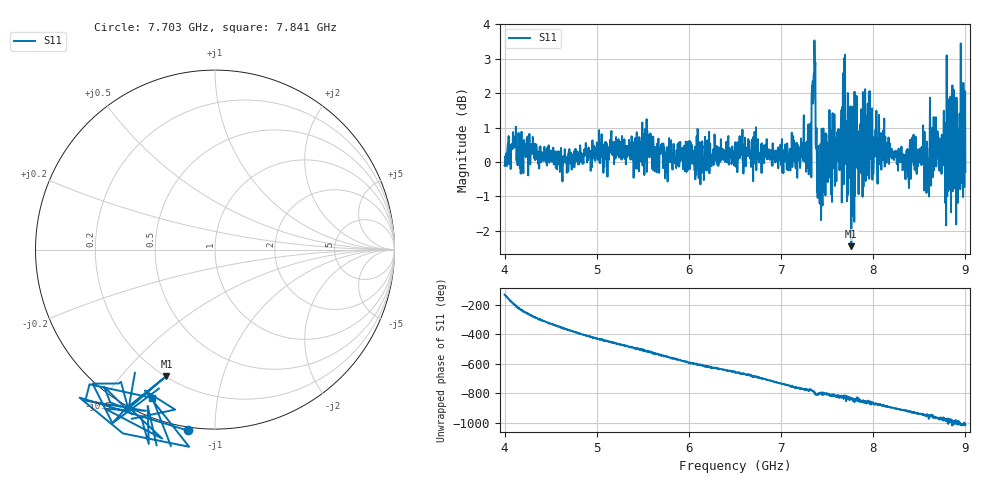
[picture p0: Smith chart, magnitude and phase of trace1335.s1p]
! Created with skrf 1.8.0 (http://scikit-rf.org).
# Hz S RI R 50.0
!freq ReS11 ImS11
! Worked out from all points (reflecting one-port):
!   1601 points, 4 GHz to 9 GHz, reference 50 ohm
!   lowest |S11| = -2.4 dB at 7.762 GHz (marker M1), VSWR 7.15, Z = 10.2 - j33.4 ohm
!   phase of S11 starts at -132 deg and turns -879 deg over the sweep
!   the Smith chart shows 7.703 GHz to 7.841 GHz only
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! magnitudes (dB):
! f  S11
! 4 GHz  -0.1
! 4.1 GHz  0.4
! 4.625 GHz  -0.3
! 5.25 GHz  0.3
! 5.875 GHz  -0.1
! 6.5 GHz  0.5
! 7.125 GHz  0.0
! 7.303 GHz  -0.1
! 7.347 GHz  1.7
! 7.362 GHz  3.5
! 7.412 GHz  -0.2
! 7.478 GHz  0.6
! 7.638 GHz  0.1
! 7.669 GHz  1.4
! 7.75 GHz  1.2
! 7.762 GHz  -2.4
! 7.784 GHz  -0.7
! 7.962 GHz  2.1
! 8.375 GHz  0.0
! 8.441 GHz  -0.1
! 8.584 GHz  0.6
! 8.634 GHz  -0.3
! 8.788 GHz  -0.2
! 8.806 GHz  0.5
! 8.859 GHz  2.2
! 8.919 GHz  -0.4
! 8.959 GHz  2.1
! 9 GHz  -0.3
